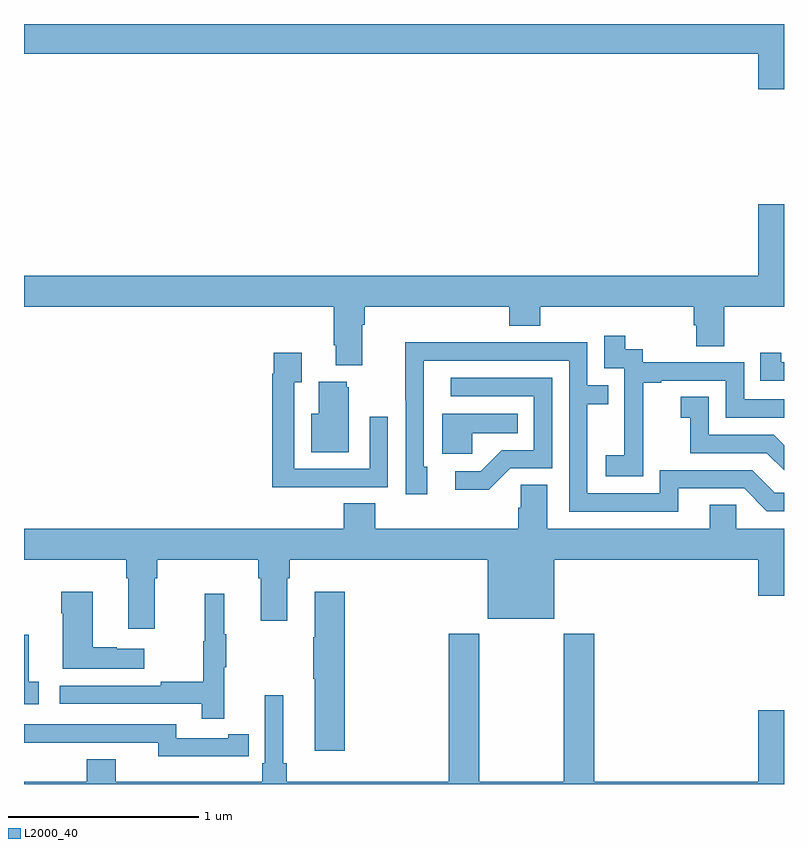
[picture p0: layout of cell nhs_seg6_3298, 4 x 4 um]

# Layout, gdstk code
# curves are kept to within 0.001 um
import gdstk
lib = gdstk.Library(unit=1e-6, precision=1e-09)
def P(c, l, *ps):  # polygons
    for p in ps: c.add(gdstk.Polygon(p, *l))
L2000_40 = (2000, 40)

nhs_seg6_3298 = lib.new_cell('nhs_seg6_3298')
P(nhs_seg6_3298, L2000_40, [(309,939.5),(305,939.5),(305,939.344),(308.864,939.344),(308.864,939.156),(309,939.156)],
  [(306.781,937.916),(306.794,937.916),(306.794,938.012),(307.553,938.012),(307.553,937.913),(307.718,937.913),(307.718,938.012),(308.525,938.012),(308.525,937.914),(308.537,937.914),(308.537,937.804),(308.685,937.804),(308.685,938.012),(309,938.012),(309,938.551),(308.864,938.551),(308.864,938.176),(305,938.176),(305,938.012),(306.629,938.012),(306.629,937.81),(306.641,937.81),(306.641,937.703),(306.781,937.703)],
  [(308.259,937.327),(308.258,937.327),(308.258,937.611),(308.353,937.611),(308.353,937.623),(308.694,937.623),(308.694,937.428),(309,937.428),(309,937.524),(308.79,937.524),(308.79,937.719),(308.256,937.719),(308.256,937.788),(308.164,937.788),(308.164,937.858),(308.055,937.858),(308.055,937.689),(308.16,937.689),(308.16,937.46),(308.159,937.46),(308.159,937.231),(308.061,937.231),(308.061,937.121),(308.259,937.121)],
  [(308.443,937.056),(308.79,937.056),(308.91,936.936),(309,936.936),(309,937.032),(308.952,937.032),(308.832,937.152),(308.346,937.152),(308.346,937.029),(307.965,937.029),(307.965,937.498),(308.075,937.498),(308.075,937.599),(307.965,937.599),(307.965,937.824),(307.469,937.824),(307.469,937.826),(307.006,937.826),(307.006,937.519),(307.008,937.519),(307.008,937.026),(307.123,937.026),(307.123,937.17),(307.104,937.17),(307.105,937.728),(307.869,937.728),(307.869,936.933),(308.443,936.933)],
  [(306.599,937.062),(306.915,937.062),(306.915,937.432),(306.819,937.432),(306.819,937.158),(306.423,937.158),(306.423,937.615),(306.463,937.615),(306.463,937.771),(306.315,937.771),(306.315,937.658),(306.307,937.658),(306.307,937.061),(306.599,937.061)],
  [(309,937.719),(308.986,937.719),(308.986,937.771),(308.875,937.771),(308.875,937.623),(309,937.623)],
  [(307.56,937.161),(307.779,937.161),(307.779,937.638),(307.245,937.638),(307.245,937.542),(307.683,937.542),(307.683,937.257),(307.514,937.257),(307.403,937.146),(307.269,937.146),(307.269,937.049),(307.447,937.049)],
  [(306.709,937.587),(306.698,937.587),(306.698,937.618),(306.551,937.618),(306.551,937.45),(306.512,937.45),(306.512,937.247),(306.709,937.247)],
  [(309,937.284),(308.946,937.338),(308.604,937.338),(308.604,937.537),(308.457,937.537),(308.457,937.427),(308.506,937.427),(308.506,937.242),(308.909,937.242),(309,937.151)],
  [(307.359,937.346),(307.598,937.346),(307.598,937.45),(307.202,937.45),(307.202,937.238),(307.359,937.238)],
  [(305.689,936.584),(305.702,936.584),(305.702,936.68),(306.233,936.68),(306.233,936.584),(306.245,936.584),(306.245,936.36),(306.385,936.36),(306.385,936.584),(306.398,936.584),(306.398,936.68),(307.442,936.68),(307.442,936.371),(307.792,936.371),(307.792,936.68),(308.864,936.68),(308.864,936.492),(309,936.492),(309,936.844),(308.748,936.844),(308.748,936.971),(308.609,936.971),(308.609,936.844),(307.753,936.844),(307.753,937.076),(307.614,937.076),(307.614,936.953),(307.601,936.953),(307.601,936.844),(306.848,936.844),(306.848,936.977),(306.683,936.977),(306.683,936.844),(305,936.844),(305,936.68),(305.537,936.68),(305.537,936.584),(305.549,936.584),(305.549,936.318),(305.689,936.318)],
  [(305.632,936.211),(305.489,936.211),(305.489,936.221),(305.362,936.221),(305.362,936.511),(305.197,936.511),(305.197,936.398),(305.204,936.398),(305.204,936.107),(305.632,936.107)],
  [(306.689,936.511),(306.53,936.511),(306.53,936.272),(306.523,936.272),(306.523,936.055),(306.53,936.055),(306.53,935.676),(306.689,935.676)],
  [(306.053,936.115),(306.064,936.115),(306.064,936.289),(306.053,936.289),(306.053,936.502),(305.95,936.502),(305.95,936.252),(305.943,936.252),(305.943,936.038),(305.719,936.038),(305.719,936.018),(305.187,936.018),(305.187,935.922),(305.935,935.922),(305.935,935.844),(306.053,935.844)],
  [(305.33,935.629),(305.33,935.512),(305,935.512),(305,935.5),(309,935.5),(309,935.887),(308.864,935.887),(308.864,935.512),(308,935.512),(308,936.292),(307.84,936.292),(307.84,935.512),(307.395,935.512),(307.395,936.292),(307.235,936.292),(307.235,935.512),(306.383,935.512),(306.383,935.608),(306.364,935.608),(306.364,935.968),(306.267,935.968),(306.267,935.608),(306.254,935.608),(306.254,935.512),(305.482,935.512),(305.482,935.629)],
  [(305.077,936.039),(305.024,936.039),(305.024,936.286),(305,936.286),(305,935.919),(305.077,935.919)],
  [(306.074,935.646),(306.182,935.646),(306.182,935.762),(306.074,935.762),(306.074,935.742),(305.802,935.742),(305.802,935.814),(305,935.814),(305,935.717),(305.246,935.717),(305.246,935.718),(305.706,935.718),(305.706,935.645),(306.074,935.645)])

lib.write_gds('nhs_seg6_3298.gds')
